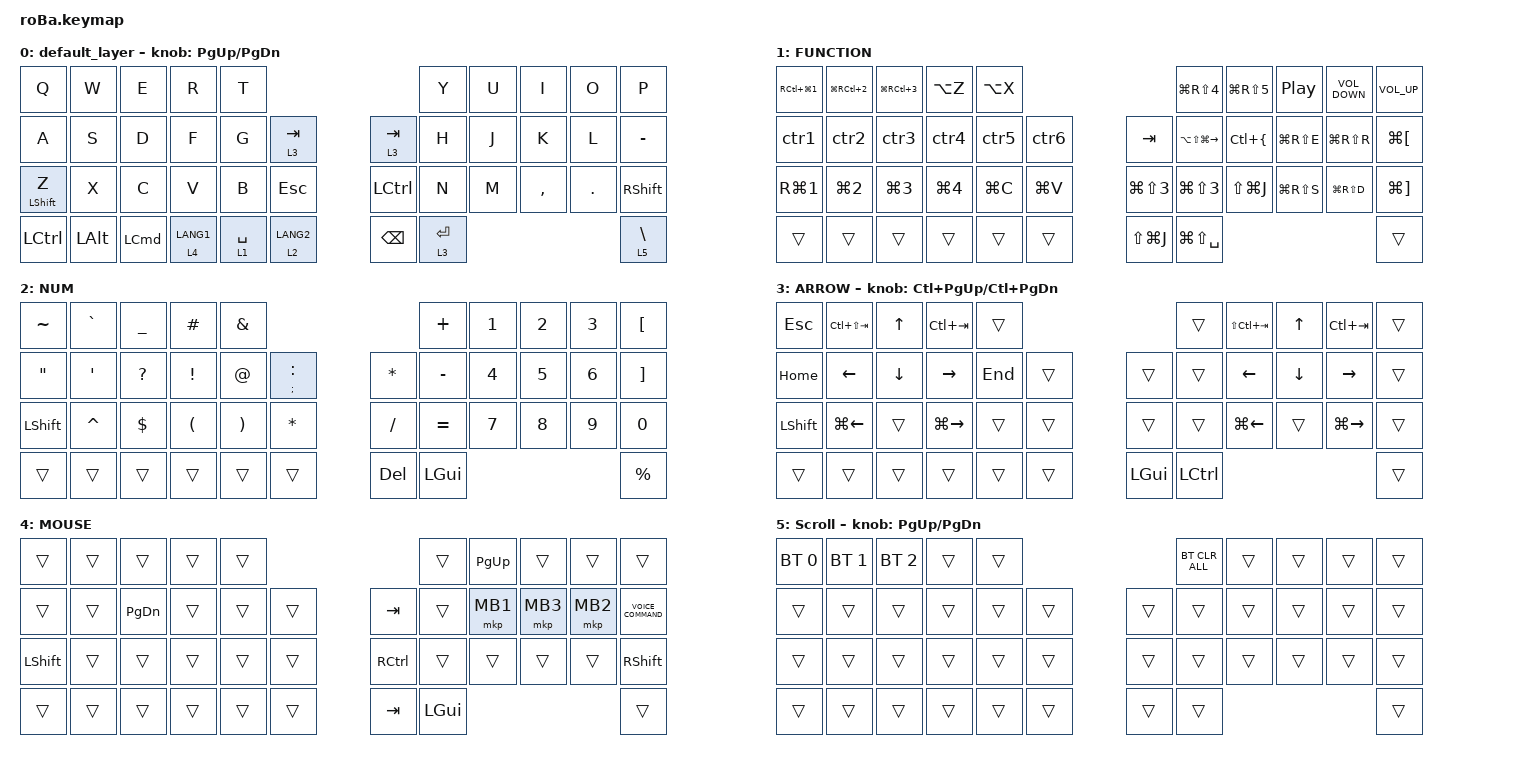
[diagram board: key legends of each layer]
#include <behaviors.dtsi>
#include <dt-bindings/zmk/bt.h>
#include <dt-bindings/zmk/keys.h>
#include <dt-bindings/zmk/pointing.h>

&mt {
    flavor = "balanced";
    quick-tap-ms = <0>;
};

&trackball {
    // automouse-layer = <4>;  // オートマウスレイヤーを無効化

    scroll-layers = <5>;

    // arrows {
    //     layers = <3>;
    //     bindings =
    //         <&kp RIGHT_ARROW>,
    //         <&kp LEFT_ARROW>,
    //         <&kp UP_ARROW>,
    //         <&kp DOWN_ARROW>;
    //     tick = <10>;
    //     wait-ms = <5>;
    //     tap-ms = <5>;
    // };
};

/ {
    combos {
        compatible = "zmk,combos";

        tab {
            bindings = <&kp TAB>;
            key-positions = <11 12>;
        };

        shift_tab {
            bindings = <&kp LS(TAB)>;
            key-positions = <12 13>;
        };

        muhennkann {
            bindings = <&to_layer_0 INT_MUHENKAN>;
            key-positions = <11 10>;
        };

        double_quotation {
            bindings = <&kp DOUBLE_QUOTES>;
            key-positions = <20 21>;
        };

        eq {
            bindings = <&kp EQUAL>;
            key-positions = <24 25>;
        };
    };

    macros {
        to_layer_0: to_layer_0 {
            compatible = "zmk,behavior-macro-one-param";
            #binding-cells = <1>;
            bindings = <&to 0 &macro_param_1to1 &kp MACRO_PLACEHOLDER>;
            label = "TO_LAYER_0";
        };

        ctr1: tab1 {
            compatible = "zmk,behavior-macro";
            #binding-cells = <0>;
            bindings = <&kp RC(NUMBER_1)>;
            label = "TAB1";
        };

        ctr2: tab2 {
            compatible = "zmk,behavior-macro";
            #binding-cells = <0>;
            bindings = <&kp RC(NUMBER_2)>;
            label = "TAB2";
        };

        ctr3: tab3 {
            compatible = "zmk,behavior-macro";
            #binding-cells = <0>;
            bindings = <&kp RC(NUMBER_3)>;
            label = "TAB3";
        };

        ctr4: tab4 {
            compatible = "zmk,behavior-macro";
            #binding-cells = <0>;
            bindings = <&kp RC(NUMBER_4)>;
            label = "TAB4";
        };

        ctr5: tab5 {
            compatible = "zmk,behavior-macro";
            #binding-cells = <0>;
            bindings = <&kp RC(NUMBER_5)>;
            label = "TAB5";
        };

        ctr6: tab6 {
            compatible = "zmk,behavior-macro";
            #binding-cells = <0>;
            bindings = <&kp RC(NUMBER_6)>;
            label = "TAB6";
        };

        cmd1: cmd1 {
            compatible = "zmk,behavior-macro";
            #binding-cells = <0>;
            bindings = <&kp LEFT_GUI &kp NUMBER_1>;
            label = "CMD1";
        };

        cmd2: cmd2 {
            compatible = "zmk,behavior-macro";
            #binding-cells = <0>;
            bindings = <&kp LEFT_GUI &kp NUMBER_2>;
            label = "CMD2";
        };

        cmd3: cmd3 {
            compatible = "zmk,behavior-macro";
            #binding-cells = <0>;
            bindings = <&kp LEFT_GUI &kp NUMBER_3>;
            label = "CMD3";
        };

        cmd4: cmd4 {
            compatible = "zmk,behavior-macro";
            #binding-cells = <0>;
            bindings = <&kp LEFT_GUI &kp NUMBER_4>;
            label = "CMD4";
        };
    };

    behaviors {
        lt_to_layer_0: lt_to_layer_0 {
            compatible = "zmk,behavior-hold-tap";
            label = "LAYER_TAP_TO_0";
            bindings = <&mo>, <&to_layer_0>;

            #binding-cells = <2>;
            tapping-term-ms = <200>;
        };
    };

    keymap {
        compatible = "zmk,keymap";

        default_layer {
            bindings = <
&kp Q             &kp W         &kp E             &kp R        &kp T                                                      &kp Y        &kp U  &kp I      &kp O    &kp P
&kp A             &kp S         &kp D             &kp F        &kp G        &lt 3 TAB                   &lt 3 TAB         &kp H        &kp J  &kp K      &kp L    &kp MINUS
&mt LEFT_SHIFT Z  &kp X         &kp C             &kp V        &kp B        &kp ESCAPE                  &kp LEFT_CONTROL  &kp N        &kp M  &kp COMMA  &kp DOT  &kp RIGHT_SHIFT
&kp LCTRL         &kp LEFT_ALT  &kp LEFT_COMMAND  &lt 4 LANG1  &lt 1 SPACE  &lt_to_layer_0 2 LANG2      &kp BACKSPACE     &lt 3 ENTER                             &lt 5 BACKSLASH
            >;

            sensor-bindings = <&inc_dec_kp PG_UP PAGE_DOWN>;
        };

        FUNCTION {
            bindings = <
&kp RC(LG(NUMBER_1))  &kp LG(RC(NUMBER_2))  &kp LG(RC(NUMBER_3))  &kp LA(Z)         &kp LA(X)                                       &kp LG(RS(NUMBER_4))   &kp LG(RS(NUMBER_5))  &kp C_PLAY_PAUSE  &kp C_VOLUME_DOWN  &kp C_VOLUME_UP
&ctr1                 &ctr2                 &ctr3                 &ctr4             &ctr5      &ctr6          &kp TAB               &kp LA(LS(LG(RIGHT)))  &kp LC(LEFT_BRACE)    &kp LG(RS(E))     &kp LG(RS(R))      &kp LG(LEFT_BRACKET)
&kp RG(NUMBER_1)      &kp LG(NUMBER_2)      &kp LG(NUMBER_3)      &kp LG(NUMBER_4)  &kp LG(C)  &kp LG(V)      &kp LG(LS(NUMBER_3))  &kp LG(LS(NUMBER_3))   &kp LS(LG(J))         &kp LG(RS(S))     &kp LG(RS(D))      &kp LG(RIGHT_BRACKET)
&trans                &trans                &trans                &trans            &trans     &trans         &kp LS(LG(J))         &kp LG(LS(SPACE))                                                                 &trans
            >;
        };

        NUM {
            bindings = <
&kp TILDE          &kp GRAVE         &kp UNDER     &kp HASH              &kp AMPERSAND                                            &kp PLUS      &kp NUMBER_1  &kp NUMBER_2  &kp NUMBER_3  &kp LEFT_BRACKET
&kp DOUBLE_QUOTES  &kp SINGLE_QUOTE  &kp QUESTION  &kp EXCL              &kp AT                 &mt SEMI COLON      &kp ASTERISK  &kp MINUS     &kp N4        &kp NUMBER_5  &kp NUMBER_6  &kp RIGHT_BRACKET
&kp LEFT_SHIFT     &kp CARET         &kp DOLLAR    &kp LEFT_PARENTHESIS  &kp RIGHT_PARENTHESIS  &kp ASTERISK        &kp SLASH     &kp EQUAL     &kp NUMBER_7  &kp NUMBER_8  &kp NUMBER_9  &kp NUMBER_0
&trans             &trans            &trans        &trans                &trans                 &trans              &kp DEL       &kp LEFT_GUI                                            &kp PRCNT
            >;
        };

        ARROW {
            bindings = <
&kp ESCAPE      &kp LC(LS(TAB))  &kp UP_ARROW    &kp LC(TAB)      &trans                             &trans            &kp LS(LC(TAB))  &kp UP_ARROW  &kp LC(TAB)    &trans
&kp HOME        &kp LEFT_ARROW   &kp DOWN_ARROW  &kp RIGHT_ARROW  &kp END  &trans      &trans        &trans            &kp LEFT         &kp DOWN      &kp RIGHT      &trans
&kp LEFT_SHIFT  &kp LG(LEFT)     &trans          &kp LG(RIGHT)    &trans   &trans      &trans        &trans            &kp LG(LEFT)     &trans        &kp LG(RIGHT)  &trans
&trans          &trans           &trans          &trans           &trans   &trans      &kp LEFT_GUI  &kp LEFT_CONTROL                                                &trans
            >;

            sensor-bindings = <&inc_dec_kp LC(PAGE_UP) LC(PAGE_DOWN)>;
        };

        MOUSE {
            bindings = <
&trans          &trans  &trans         &trans  &trans                         &trans        &kp PAGE_UP  &trans    &trans    &trans
&trans          &trans  &kp PAGE_DOWN  &trans  &trans  &trans      &kp TAB    &trans        &mkp MB1     &mkp MB3  &mkp MB2  &kp C_VOICE_COMMAND
&kp LEFT_SHIFT  &trans  &trans         &trans  &trans  &trans      &kp RCTRL  &trans        &trans       &trans    &trans    &kp RIGHT_SHIFT
&trans          &trans  &trans         &trans  &trans  &trans      &kp TAB    &kp LEFT_GUI                                   &trans
            >;
        };

        Scroll {
            bindings = <
&bt BT_SEL 0  &bt BT_SEL 1  &bt BT_SEL 2  &trans  &trans                      &bt BT_CLR_ALL  &trans  &trans  &trans  &trans
&trans        &trans        &trans        &trans  &trans  &trans      &trans  &trans          &trans  &trans  &trans  &trans
&trans        &trans        &trans        &trans  &trans  &trans      &trans  &trans          &trans  &trans  &trans  &trans
&trans        &trans        &trans        &trans  &trans  &trans      &trans  &trans                                  &trans
            >;

            sensor-bindings = <&inc_dec_kp PAGE_UP PAGE_DOWN>;
        };
    };
};
